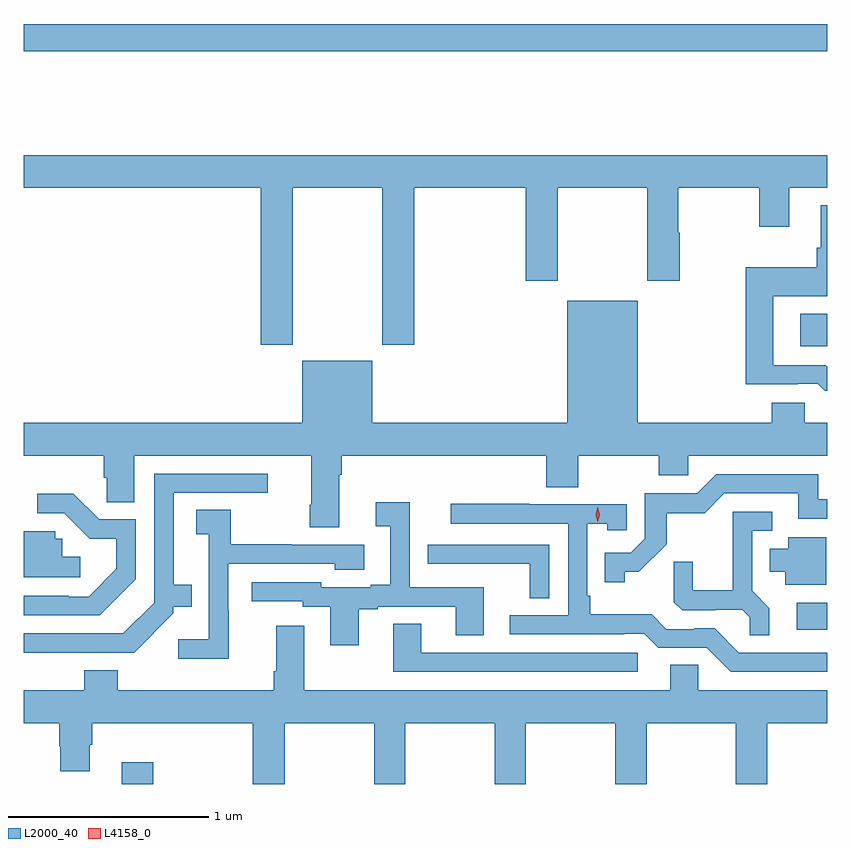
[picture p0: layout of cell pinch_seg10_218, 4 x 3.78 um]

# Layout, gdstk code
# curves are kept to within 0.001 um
import gdstk
lib = gdstk.Library(unit=1e-6, precision=1e-09)
def R(c, l, rs):  # rectangles x0, y0, x1, y1
    for r in rs: c.add(gdstk.rectangle(r[:2], r[2:], *l))
def P(c, l, *ps):  # polygons
    for p in ps: c.add(gdstk.Polygon(p, *l))
L2000_40 = (2000, 40)
L4158_0 = (4158, 0)

pinch_seg10_218 = lib.new_cell('pinch_seg10_218')
R(pinch_seg10_218, L2000_40, [(624.893,1315.998,625.049,1316.107), (628.251,1316.765,628.404,1316.901), (628.269,1318.176,628.404,1318.339), (624.404,1319.644,628.404,1319.78)])
P(pinch_seg10_218, L2000_40, [(625.743,1318.964),(626.188,1318.964),(626.188,1318.185),(626.348,1318.185),(626.348,1318.964),(626.903,1318.964),(626.903,1318.503),(627.063,1318.503),(627.063,1318.964),(627.508,1318.964),(627.508,1318.503),(627.668,1318.503),(627.668,1318.742),(627.663,1318.742),(627.663,1318.964),(628.066,1318.964),(628.066,1318.77),(628.213,1318.77),(628.213,1318.964),(628.404,1318.964),(628.404,1319.128),(624.404,1319.128),(624.404,1318.964),(625.583,1318.964),(625.583,1318.185),(625.743,1318.185)],
  [(628.404,1318.074),(628.395,1318.083),(628.135,1318.083),(628.135,1318.424),(628.404,1318.424),(628.404,1318.879),(628.37,1318.879),(628.37,1318.666),(628.351,1318.666),(628.351,1318.57),(627.998,1318.57),(627.998,1317.987),(628.256,1317.987),(628.256,1317.99),(628.355,1317.99),(628.391,1317.954),(628.404,1317.954)],
  [(625.975,1317.536),(625.988,1317.536),(625.988,1317.632),(627.005,1317.632),(627.005,1317.475),(627.165,1317.475),(627.165,1317.632),(627.565,1317.632),(627.565,1317.534),(627.711,1317.534),(627.711,1317.632),(628.404,1317.632),(628.404,1317.796),(628.292,1317.796),(628.292,1317.895),(628.127,1317.895),(628.127,1317.796),(627.46,1317.796),(627.46,1318.402),(627.11,1318.402),(627.11,1317.796),(626.14,1317.796),(626.14,1318.105),(625.79,1318.105),(625.79,1317.796),(624.404,1317.796),(624.404,1317.632),(624.803,1317.632),(624.803,1317.522),(624.817,1317.522),(624.817,1317.4),(624.955,1317.4),(624.955,1317.632),(625.835,1317.632),(625.835,1317.388),(625.828,1317.388),(625.828,1317.276),(625.975,1317.276)],
  [(624.623,1316.652),(624.954,1316.652),(625.149,1316.847),(625.149,1316.879),(625.241,1316.879),(625.241,1316.989),(625.15,1316.989),(625.15,1317.447),(625.618,1317.447),(625.618,1317.543),(625.053,1317.543),(625.053,1316.901),(624.9,1316.748),(624.404,1316.748),(624.404,1316.651)],
  [(627.396,1317.053),(627.466,1317.053),(627.604,1317.19),(627.604,1317.346),(627.793,1317.346),(627.891,1317.444),(628.259,1317.444),(628.259,1317.318),(628.404,1317.318),(628.404,1317.414),(628.358,1317.414),(628.358,1317.54),(627.852,1317.54),(627.756,1317.444),(627.495,1317.444),(627.495,1317.219),(627.426,1317.15),(627.295,1317.15),(627.295,1317.003),(627.396,1317.003)],
  [(624.963,1317.017),(624.963,1317.315),(624.78,1317.315),(624.652,1317.443),(624.471,1317.443),(624.471,1317.345),(624.606,1317.345),(624.733,1317.218),(624.866,1317.218),(624.866,1317.068),(624.729,1316.931),(624.629,1316.931),(624.629,1316.934),(624.404,1316.934),(624.404,1316.838),(624.784,1316.838)],
  [(626.071,1316.868),(626.167,1316.868),(626.167,1316.88),(626.555,1316.88),(626.555,1316.737),(626.695,1316.737),(626.695,1316.976),(626.325,1316.976),(626.325,1317.4),(626.157,1317.4),(626.157,1317.28),(626.228,1317.28),(626.228,1316.989),(626.132,1316.989),(626.132,1316.976),(625.884,1316.976),(625.884,1317.003),(625.539,1317.003),(625.539,1316.907),(625.794,1316.907),(625.794,1316.88),(625.931,1316.88),(625.931,1316.688),(626.071,1316.688)],
  [(628.404,1316.652),(627.963,1316.652),(627.843,1316.772),(627.742,1316.772),(627.742,1316.769),(627.603,1316.769),(627.53,1316.842),(627.223,1316.842),(627.223,1316.935),(627.21,1316.935),(627.21,1317.293),(627.309,1317.293),(627.309,1317.261),(627.405,1317.261),(627.405,1317.39),(626.921,1317.39),(626.921,1317.393),(626.529,1317.393),(626.529,1317.294),(627.114,1317.294),(627.114,1316.838),(626.823,1316.838),(626.823,1316.742),(627.392,1316.742),(627.392,1316.745),(627.492,1316.745),(627.561,1316.676),(627.804,1316.676),(627.924,1316.556),(628.404,1316.556)],
  [(625.425,1316.861),(625.422,1316.861),(625.422,1317.093),(625.953,1317.093),(625.953,1317.065),(626.098,1317.065),(626.098,1317.189),(625.739,1317.189),(625.739,1317.192),(625.435,1317.192),(625.435,1317.362),(625.263,1317.362),(625.263,1317.241),(625.326,1317.241),(625.326,1316.719),(625.173,1316.719),(625.173,1316.621),(625.425,1316.621)],
  [(628.115,1316.873),(628.029,1316.959),(628.029,1317.258),(628.129,1317.258),(628.129,1317.354),(627.932,1317.354),(627.932,1316.962),(627.734,1316.962),(627.734,1317.105),(627.64,1317.105),(627.64,1316.903),(627.681,1316.862),(627.846,1316.862),(627.846,1316.865),(627.98,1316.865),(628.017,1316.828),(628.017,1316.737),(628.115,1316.737)],
  [(624.685,1317.13),(624.597,1317.13),(624.597,1317.219),(624.561,1317.219),(624.561,1317.255),(624.404,1317.255),(624.404,1317.027),(624.685,1317.027)],
  [(628.399,1317.226),(628.208,1317.226),(628.208,1317.169),(628.118,1317.169),(628.118,1317.053),(628.193,1317.053),(628.193,1316.99),(628.399,1316.99)],
  [(627.021,1317.189),(626.415,1317.189),(626.415,1317.094),(626.527,1317.094),(626.527,1317.093),(626.923,1317.093),(626.923,1316.923),(627.021,1316.923)],
  [(627.46,1316.652),(626.383,1316.652),(626.383,1316.795),(626.243,1316.795),(626.243,1316.556),(627.46,1316.556)],
  [(626.304,1316.3),(626.749,1316.3),(626.749,1315.998),(626.904,1315.998),(626.904,1316.3),(627.349,1316.3),(627.349,1315.998),(627.504,1315.998),(627.504,1316.3),(627.949,1316.3),(627.949,1315.998),(628.104,1315.998),(628.104,1316.3),(628.404,1316.3),(628.404,1316.464),(627.762,1316.464),(627.762,1316.591),(627.623,1316.591),(627.623,1316.464),(625.801,1316.464),(625.801,1316.785),(625.661,1316.785),(625.661,1316.56),(625.649,1316.56),(625.649,1316.464),(624.872,1316.464),(624.872,1316.563),(624.707,1316.563),(624.707,1316.464),(624.404,1316.464),(624.404,1316.3),(624.581,1316.3),(624.581,1316.187),(624.586,1316.187),(624.586,1316.062),(624.733,1316.062),(624.733,1316.194),(624.746,1316.194),(624.746,1316.3),(625.544,1316.3),(625.544,1315.998),(625.704,1315.998),(625.704,1316.3),(626.149,1316.3),(626.149,1315.998),(626.304,1315.998)])
P(pinch_seg10_218, L4158_0, [(627.262,1317.303),(627.262,1317.303),(627.252,1317.339),(627.262,1317.374),(627.262,1317.374),(627.262,1317.374),(627.272,1317.339),(627.262,1317.303)])

lib.write_gds('pinch_seg10_218.gds')
